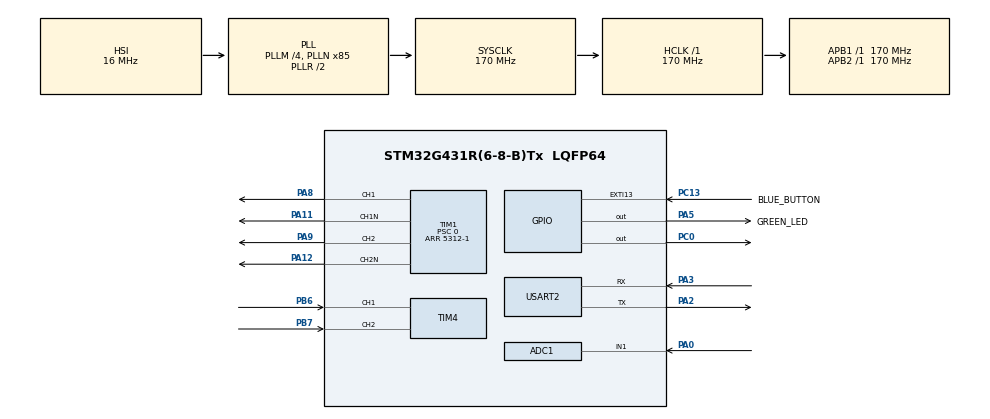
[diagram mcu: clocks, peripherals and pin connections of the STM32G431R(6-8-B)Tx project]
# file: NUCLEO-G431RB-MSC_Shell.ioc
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ADC1.Channel-0\#ChannelRegularConversion=ADC_CHANNEL_1
ADC1.DMAContinuousRequests=ENABLE
ADC1.ExternalTrigConv=ADC_EXTERNALTRIG_T2_TRGO
ADC1.NbrOfConversionFlag=1
ADC1.OffsetNumber-0\#ChannelRegularConversion=ADC_OFFSET_NONE
ADC1.Rank-0\#ChannelRegularConversion=1
ADC1.SamplingTime-0\#ChannelRegularConversion=ADC_SAMPLETIME_2CYCLES_5
ADC1.master=1
Dma.ADC1.0.Direction=DMA_PERIPH_TO_MEMORY
Dma.ADC1.0.EventEnable=DISABLE
Dma.ADC1.0.Instance=DMA1_Channel1
Dma.ADC1.0.MemDataAlignment=DMA_MDATAALIGN_HALFWORD
Dma.ADC1.0.MemInc=DMA_MINC_ENABLE
Dma.ADC1.0.Mode=DMA_CIRCULAR
Dma.ADC1.0.PeriphDataAlignment=DMA_PDATAALIGN_HALFWORD
Dma.ADC1.0.PeriphInc=DMA_PINC_DISABLE
Dma.ADC1.0.Polarity=HAL_DMAMUX_REQ_GEN_RISING
Dma.ADC1.0.Priority=DMA_PRIORITY_LOW
Dma.ADC1.0.RequestNumber=1
Dma.ADC1.0.SignalID=NONE
Dma.ADC1.0.SyncEnable=DISABLE
Dma.ADC1.0.SyncPolarity=HAL_DMAMUX_SYNC_NO_EVENT
Dma.ADC1.0.SyncRequestNumber=1
Dma.ADC1.0.SyncSignalID=NONE
Dma.Request0=ADC1
Mcu.Family=STM32G4
Mcu.Name=STM32G431R(6-8-B)Tx
Mcu.Package=LQFP64
NVIC.ADC1_2_IRQn=true\:0\:0\:false\:false\:true\:true\:true\:true
NVIC.DMA1_Channel1_IRQn=true\:0\:0\:false\:false\:true\:false\:true\:true
NVIC.PriorityGroup=NVIC_PRIORITYGROUP_4
NVIC.TIM3_IRQn=true\:0\:0\:false\:false\:true\:true\:true\:true
NVIC.TIM4_IRQn=true\:0\:0\:false\:false\:true\:true\:true\:true
NVIC.TIM6_DAC_IRQn=true\:15\:0\:false\:false\:true\:false\:true\:true
NVIC.TimeBase=TIM6_DAC_IRQn
NVIC.TimeBaseIP=TIM6
NVIC.USART2_IRQn=true\:0\:0\:false\:false\:true\:true\:true\:true
PA0.Mode=IN1-Single-Ended
PA0.Signal=ADC1_IN1
PA11.Mode=PWM Generation1 CH1 CH1N
PA11.Signal=TIM1_CH1N
PA12.Mode=PWM Generation2 CH2 CH2N
PA12.Signal=TIM1_CH2N
PA13.GPIO_Label=T_SWDIO
PA13.Mode=Serial_Wire
PA13.Signal=SYS_JTMS-SWDIO
PA14.GPIO_Label=T_SWCLK
PA14.Mode=Serial_Wire
PA14.Signal=SYS_JTCK-SWCLK
PA2.Mode=Asynchronous
PA2.Signal=USART2_TX
PA3.Mode=Asynchronous
PA3.Signal=USART2_RX
PA5.GPIO_Label=GREEN_LED
PA5.Signal=GPIO_Output
PA8.Signal=S_TIM1_CH1
PA9.Signal=S_TIM1_CH2
PB6.Signal=S_TIM4_CH1
PB7.Signal=S_TIM4_CH2
PC0.Signal=GPIO_Output
PC13.GPIO_Label=BLUE_BUTTON
PC13.Signal=GPXTI13
PC14-OSC32_IN.Mode=LSE-External-Oscillator
PC14-OSC32_IN.Signal=RCC_OSC32_IN
PC15-OSC32_OUT.Mode=LSE-External-Oscillator
PC15-OSC32_OUT.Signal=RCC_OSC32_OUT
PF0-OSC_IN.Mode=HSE-External-Oscillator
PF0-OSC_IN.Signal=RCC_OSC_IN
PF1-OSC_OUT.Mode=HSE-External-Oscillator
PF1-OSC_OUT.Signal=RCC_OSC_OUT
ProjectManager.HeapSize=0x200
ProjectManager.StackSize=0x400
ProjectManager.TargetToolchain=STM32CubeIDE
RCC.ADC12Freq_Value=170000000
RCC.AHBFreq_Value=170000000
RCC.APB1Freq_Value=170000000
RCC.APB1TimFreq_Value=170000000
RCC.APB2Freq_Value=170000000
RCC.APB2TimFreq_Value=170000000
RCC.CortexFreq_Value=170000000
RCC.EXTERNAL_CLOCK_VALUE=12288000
RCC.HCLKFreq_Value=170000000
RCC.HSE_VALUE=24000000
RCC.HSI48_VALUE=48000000
RCC.HSI_VALUE=16000000
RCC.PLLM=RCC_PLLM_DIV4
RCC.PLLN=85
RCC.RTCClockSelection=RCC_RTCCLKSOURCE_LSE
RCC.SYSCLKFreq_VALUE=170000000
RCC.SYSCLKSource=RCC_SYSCLKSOURCE_PLLCLK
RCC.USBFreq_Value=170000000
RCC.VCOOutputFreq_Value=340000000
SH.S_TIM1_CH1.0=TIM1_CH1,PWM Generation1 CH1 CH1N
SH.S_TIM1_CH2.0=TIM1_CH2,PWM Generation2 CH2 CH2N
SH.S_TIM4_CH1.0=TIM4_CH1,Encoder_Interface
SH.S_TIM4_CH2.0=TIM4_CH2,Encoder_Interface
TIM1.Channel-PWM\ Generation1\ CH1\ CH1N=TIM_CHANNEL_1
TIM1.Channel-PWM\ Generation2\ CH2\ CH2N=TIM_CHANNEL_2
TIM1.CounterMode=TIM_COUNTERMODE_CENTERALIGNED1
TIM1.DeadTime=207
TIM1.PeriodNoDither=5312-1
TIM1.Prescaler=0
TIM1.PulseNoDither_1=2656
TIM1.PulseNoDither_2=2656
TIM2.PeriodNoDither=531
TIM2.TIM_MasterOutputTrigger=TIM_TRGO_UPDATE
TIM2.TIM_MasterSlaveMode=TIM_MASTERSLAVEMODE_DISABLE
TIM3.PeriodNoDither=9999
TIM3.Prescaler=1699
TIM4.EncoderMode=TIM_ENCODERMODE_TI12
TIM4.IC1Polarity=TIM_ICPOLARITY_RISING
TIM4.IC2Polarity=TIM_ICPOLARITY_RISING
TIM4.TIM_MasterOutputTrigger=TIM_TRGO_ENABLE
USART2.VirtualMode-Asynchronous=VM_ASYNC
VP_SYS_VS_tim6.Mode=TIM6
VP_TIM2_VS_ClockSourceINT.Mode=Internal
VP_TIM3_VS_ClockSourceINT.Mode=Internal
board=NUCLEO-G431RB

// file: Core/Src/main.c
/* USER CODE BEGIN Header */
/**
 ******************************************************************************
 * @file           : main.c
 * @brief          : Main program body
 ******************************************************************************
 * @attention
 *
 * Copyright (c) 2022 STMicroelectronics.
 * All rights reserved.
 *
 * This software is licensed under terms that can be found in the LICENSE file
 * in the root directory of this software component.
 * If no LICENSE file comes with this software, it is provided AS-IS.
 *
 ******************************************************************************
 */
/* USER CODE END Header */
#include "main.h"

/* USER CODE BEGIN Includes */
#include "string.h"
#include "stdio.h"
#include "stdlib.h"
#include "encodeur.h"
#include "ADC.h"
#include "asservissement.h"
/* USER CODE END Includes */

/* USER CODE BEGIN PD */
#define UART_TX_BUFFER_SIZE 64
#define UART_RX_BUFFER_SIZE 1
#define CMD_BUFFER_SIZE 64
#define MAX_ARGS 9
// LF = line feed, saut de ligne
#define ASCII_LF 0x0A
// CR = carriage return, retour chariot
#define ASCII_CR 0x0D
// DEL = delete
#define ASCII_DEL 0x7F

#define ADC_BUF_SIZE 20

/* USER CODE END PD */

ADC_HandleTypeDef hadc1;
DMA_HandleTypeDef hdma_adc1;

TIM_HandleTypeDef htim1;
TIM_HandleTypeDef htim2;
TIM_HandleTypeDef htim3;
TIM_HandleTypeDef htim4;

UART_HandleTypeDef huart2;

/* USER CODE BEGIN PV */
uint8_t prompt[]="user@Nucleo-STM32G431>>";
uint8_t started[]=
		"\r\n*-----------------------------*"
		"\r\n| Welcome on Nucleo-STM32G431 |"
		"\r\n*-----------------------------*"
		"\r\n";
uint8_t newline[]="\r\n";
uint8_t cmdNotFound[]="Command not found\r\n";
uint8_t help[]= " set PA5\r\n get\r\n start\r\n stop\r\n pinout\r\n alpha\r\n ADC\r\n";
uint8_t pinout[]=" PA2:UART TX\r\n PA3:UART RX\r\n PA5:LED\r\n PA8:TIM1_CH1\r\n"
		" PA9:TIM1_CH2\r\n PA11:TIM1_CH1N\r\n PA12:TIM1_CH2N\r\n";
uint8_t powerOn[]="Power ON\r\n";
uint8_t powerOff[]="Power OFF\r\n";
uint32_t uartRxReceived;
uint8_t uartRxBuffer[UART_RX_BUFFER_SIZE];
uint8_t uartTxBuffer[UART_TX_BUFFER_SIZE];
uint8_t stringSize;

uint16_t ADC_Buffer[ADC_BUF_SIZE];

uint32_t counter = 0;

extern float vitesse[1];

int start_current_ctrl_flag = 0;
int ADC_flag = 0;

/* USER CODE END PV */

void SystemClock_Config(void);
static void MX_GPIO_Init(void);
static void MX_DMA_Init(void);
static void MX_USART2_UART_Init(void);
static void MX_TIM1_Init(void);
static void MX_ADC1_Init(void);
static void MX_TIM2_Init(void);
static void MX_TIM4_Init(void);
static void MX_TIM3_Init(void);

/* USER CODE BEGIN 0 */

/**
 * @brief Fonction qui permet de mettre en route les signaux PWM
 * @param  None
 * @retval None
 */
void start_PWM(){
	HAL_TIM_PWM_Start(&htim1, TIM_CHANNEL_1);
	HAL_TIM_PWM_Start(&htim1, TIM_CHANNEL_2);
	HAL_TIMEx_PWMN_Start(&htim1, TIM_CHANNEL_1);
	HAL_TIMEx_PWMN_Start(&htim1, TIM_CHANNEL_2);
}

/**
 * @brief Fonction qui permet de stopper les signaux PWM
 * @param  None
 * @retval None
 */
void stop_PWM(){
	HAL_TIM_PWM_Stop(&htim1, TIM_CHANNEL_1);
	HAL_TIM_PWM_Stop(&htim1, TIM_CHANNEL_2);
	HAL_TIMEx_PWMN_Stop(&htim1, TIM_CHANNEL_1);
	HAL_TIMEx_PWMN_Stop(&htim1, TIM_CHANNEL_2);
}

/**
 * @brief Fonction qui permet de changer la valeur du rapport cyclique des signaux PWM
 * @param  int alpha : rapport cyclique entre 0 et 100
 * @retval None
 */
void changement_alpha(int alpha){
	if (alpha > 100){
		alpha = 100;
	}
	TIM1->CCR1=(5312*alpha)/100;
	TIM1->CCR2=(5312-TIM1->CCR1);
}

/**
 * @brief Fonction qui permet de lancer le hacheur
 * @param  None
 * @retval None
 */
void GPIO_ISO_RESET(){
	HAL_GPIO_WritePin(GPIOC, GPIO_PIN_0, GPIO_PIN_SET);
	HAL_Delay(1);
	HAL_GPIO_WritePin(GPIOC, GPIO_PIN_0, GPIO_PIN_RESET);
}

/* USER CODE END 0 */

int main(void)
{
	/* USER CODE BEGIN 1 */
	char	 	cmdBuffer[CMD_BUFFER_SIZE];
	int 		idx_cmd;
	char* 		argv[MAX_ARGS];
	int		 	argc = 0;
	char*		token;
	float 		courant = 0;
	float 		epsilon_courant_n_1 = 0; //erreur courant de l'acquisition précédente n-1
	float 		alpha2_n_1 = 0.5; //alpha 2 de l'acquisition précédente n-1
	int 		courant_mA = 0;

	/* USER CODE END 1 */

	/* MCU Configuration--------------------------------------------------------*/

	/* Reset of all peripherals, Initializes the Flash interface and the Systick. */
	HAL_Init();

	/* Configure the system clock */
	SystemClock_Config();

	/* Initialize all configured peripherals */
	MX_GPIO_Init();
	MX_DMA_Init();
	MX_USART2_UART_Init();
	MX_TIM1_Init();
	MX_ADC1_Init();
	MX_TIM2_Init();
	MX_TIM4_Init();
	MX_TIM3_Init();
	/* USER CODE BEGIN 2 */

	// POUR LE SHELL
	memset(argv,NULL,MAX_ARGS*sizeof(char*));
	memset(cmdBuffer,NULL,CMD_BUFFER_SIZE*sizeof(char));
	memset(uartRxBuffer,NULL,UART_RX_BUFFER_SIZE*sizeof(char));
	memset(uartTxBuffer,NULL,UART_TX_BUFFER_SIZE*sizeof(char));

	HAL_UART_Receive_IT(&huart2, uartRxBuffer, UART_RX_BUFFER_SIZE);
	HAL_Delay(10);
	HAL_UART_Transmit(&huart2, started, sizeof(started), HAL_MAX_DELAY);
	HAL_UART_Transmit(&huart2, prompt, sizeof(prompt), HAL_MAX_DELAY);
	// FIN POUR LE SHELL

	// init PWM

	start_PWM();

	// initialisation de l'ADC pour la mesure du courant sur la phase RED

	if(HAL_OK != HAL_ADCEx_Calibration_Start(&hadc1, ADC_SINGLE_ENDED))
		printf("probleme avec la calibration de l'ADC \r\n");

	if(HAL_OK != HAL_ADC_Start_DMA(&hadc1, (uint32_t *)ADC_Buffer, ADC_BUF_SIZE))
		printf("probleme avec le demarrage du DMA \r\n");

	if(HAL_OK != HAL_TIM_Base_Start(&htim2))
		printf("probleme avec l'initialisation du Timer 2 \r\n");

	// initialisation du Timer 4 pour la mesure de vitesse avec le codeur incremental

	if(HAL_OK != HAL_TIM_Encoder_Start(&htim4, TIM_CHANNEL_ALL))
		printf("probleme avec l'initialisation du Timer 4 \r\n");

	if(HAL_OK != HAL_TIM_Base_Start_IT(&htim3))
		printf("probleme avec l'initialisation du Timer 3 \r\n");

	/* USER CODE END 2 */

	/* Infinite loop */
	/* USER CODE BEGIN WHILE */
	while (1)
	{

		/******************** BEGIN SHELL **************************/

		// uartRxReceived is set to 1 when a new character is received on uart 1
		if(uartRxReceived){

			switch(uartRxBuffer[0]){
			// Nouvelle ligne, instruction à traiter
			case ASCII_CR:
				HAL_UART_Transmit(&huart2, newline, sizeof(newline), HAL_MAX_DELAY);
				cmdBuffer[idx_cmd] = '\0';
				argc = 0;
				token = strtok(cmdBuffer, " ");
				while(token!=NULL){
					argv[argc++] = token;
					token = strtok(NULL, " ");
				}
				idx_cmd = 0;
				newCmdReady = 1;
				break;
				// Suppression du dernier caractère
			case ASCII_DEL:
				cmdBuffer[idx_cmd--] = '\0';
				HAL_UART_Transmit(&huart2, uartRxBuffer, UART_RX_BUFFER_SIZE, HAL_MAX_DELAY);
				break;
				// Nouveau caractère
			default:
				cmdBuffer[idx_cmd++] = uartRxBuffer[0];
				HAL_UART_Transmit(&huart2, uartRxBuffer, UART_RX_BUFFER_SIZE, HAL_MAX_DELAY);
			}
			uartRxReceived = 0;
		}

		if(newCmdReady){
			if(strcmp(argv[0],"set")==0){
				if(strcmp(argv[1],"PA5")==0){
					HAL_GPIO_WritePin(GREEN_LED_GPIO_Port, GREEN_LED_Pin, atoi(argv[2]));
					stringSize = snprintf(uartTxBuffer, UART_TX_BUFFER_SIZE,"Switch on/off led : %d\r\n",atoi(argv[2]));
					HAL_UART_Transmit(&huart2, uartTxBuffer, stringSize, HAL_MAX_DELAY);
				}
				else{
					HAL_UART_Transmit(&huart2, cmdNotFound, sizeof(cmdNotFound), HAL_MAX_DELAY);
				}
			}
			else if(strcmp(argv[0],"get")==0)
			{
				HAL_UART_Transmit(&huart2, cmdNotFound, sizeof(cmdNotFound), HAL_MAX_DELAY);
			}

			else if (strcmp(argv[0],"help")==0){
				HAL_UART_Transmit(&huart2, help, sizeof(help), HAL_MAX_DELAY);

			}
			else if (strcmp(argv[0],"pinout")==0){
				HAL_UART_Transmit(&huart2, pinout, sizeof(pinout), HAL_MAX_DELAY);
			}

			else if (strcmp(argv[0],"start")==0){

				start_PWM();

				// on met le rapport cyclique à 50 à chaque lancement (le moteur ne tourne pas)
				TIM1->CCR1=2656;
				TIM1->CCR2=2656;

				// Activation du GPIO pour l'allumage du hacheur (pin 33)
				// GPIOC Pin 0 à 1 pendant au moins 2micro s d'après la doc

				GPIO_ISO_RESET();

				HAL_UART_Transmit(&huart2, powerOn, sizeof(powerOn), HAL_MAX_DELAY);
			}
			else if (strcmp(argv[0],"stop")==0){

				// On stoppe les PWM
				stop_PWM();

				HAL_UART_Transmit(&huart2, powerOff, sizeof(powerOff), HAL_MAX_DELAY);
			}

			else if(strcmp(argv[0],"alpha")==0){
				alpha = atoi(argv[1]);
				changement_alpha(alpha);
			}
			else if(strcmp(argv[0],"ADC")==0){

				courant = lecture_courant(ADC_Buffer);

				stringSize = snprintf(uartTxBuffer, UART_TX_BUFFER_SIZE,"Le courant dans la phase RED vaut : %.2f A \r\n", courant);
				HAL_UART_Transmit(&huart2, uartTxBuffer, stringSize, HAL_MAX_DELAY);

			}
			else if(strcmp(argv[0],"vitesse")==0){

				// la fonction vitesse_de_rotation est appelée périodiquement à chaque interruption du timer3 (dans la fonction ...it.c)

				stringSize = snprintf(uartTxBuffer, UART_TX_BUFFER_SIZE,"La vitesse vaut : %.1f tr/min \r\n", vitesse[0]);
				HAL_UART_Transmit(&huart2, uartTxBuffer, stringSize, HAL_MAX_DELAY);
			}
			else if (strcmp(argv[0],"commande")==0){

				if (strcmp(argv[1],"courant")==0){

					courant_mA =atoi(argv[2]);

					stringSize = snprintf(uartTxBuffer, UART_TX_BUFFER_SIZE,"courant commande %d \r\n ", courant_mA);
					HAL_UART_Transmit(&huart2, uartTxBuffer, stringSize, HAL_MAX_DELAY);

					start_current_ctrl_flag = 1;
				}

			}

			else if(strcmp(argv[0],"arret_commande")==0){

				start_current_ctrl_flag = 0;

			}

			else{
				HAL_UART_Transmit(&huart2, cmdNotFound, sizeof(cmdNotFound), HAL_MAX_DELAY);
			}
			HAL_UART_Transmit(&huart2, prompt, sizeof(prompt), HAL_MAX_DELAY);
			newCmdReady = 0;
		}

		/*********************** END SHELL *****************************/

		/****************** BEGIN BLUE_BUTTON HACHEUR ******************/

		HAL_GPIO_EXTI_IRQHandler(BLUE_BUTTON_Pin);

		/****************** END  BLUE_BUTTON HACHEUR ******************/

		/*********************** BEGIN ASSERV **************************/

		//asserv courant

		if (start_current_ctrl_flag){
			//if (ADC_flag){
				float alpha_commande_courant = commande_courant(courant_mA, lecture_courant(ADC_Buffer), epsilon_courant_n_1, alpha2_n_1);
				changement_alpha((int)(alpha_commande_courant)*100);
				ADC_flag = 0;
			//}
		}

		/*********************** END ASSERV ****************************/

		/* USER CODE END WHILE */

	}
}

void SystemClock_Config(void)
{
	RCC_OscInitTypeDef RCC_OscInitStruct = {0};
	RCC_ClkInitTypeDef RCC_ClkInitStruct = {0};

	/** Configure the main internal regulator output voltage
	 */
	HAL_PWREx_ControlVoltageScaling(PWR_REGULATOR_VOLTAGE_SCALE1_BOOST);

	/** Initializes the RCC Oscillators according to the specified parameters
	 * in the RCC_OscInitTypeDef structure.
	 */
	RCC_OscInitStruct.OscillatorType = RCC_OSCILLATORTYPE_HSI;
	RCC_OscInitStruct.HSIState = RCC_HSI_ON;
	RCC_OscInitStruct.HSICalibrationValue = RCC_HSICALIBRATION_DEFAULT;
	RCC_OscInitStruct.PLL.PLLState = RCC_PLL_ON;
	RCC_OscInitStruct.PLL.PLLSource = RCC_PLLSOURCE_HSI;
	RCC_OscInitStruct.PLL.PLLM = RCC_PLLM_DIV4;
	RCC_OscInitStruct.PLL.PLLN = 85;
	RCC_OscInitStruct.PLL.PLLP = RCC_PLLP_DIV2;
	RCC_OscInitStruct.PLL.PLLQ = RCC_PLLQ_DIV2;
	RCC_OscInitStruct.PLL.PLLR = RCC_PLLR_DIV2;
	if (HAL_RCC_OscConfig(&RCC_OscInitStruct) != HAL_OK)
	{
		Error_Handler();
	}

	/** Initializes the CPU, AHB and APB buses clocks
	 */
	RCC_ClkInitStruct.ClockType = RCC_CLOCKTYPE_HCLK|RCC_CLOCKTYPE_SYSCLK
			|RCC_CLOCKTYPE_PCLK1|RCC_CLOCKTYPE_PCLK2;
	RCC_ClkInitStruct.SYSCLKSource = RCC_SYSCLKSOURCE_PLLCLK;
	RCC_ClkInitStruct.AHBCLKDivider = RCC_SYSCLK_DIV1;
	RCC_ClkInitStruct.APB1CLKDivider = RCC_HCLK_DIV1;
	RCC_ClkInitStruct.APB2CLKDivider = RCC_HCLK_DIV1;

	if (HAL_RCC_ClockConfig(&RCC_ClkInitStruct, FLASH_LATENCY_4) != HAL_OK)
	{
		Error_Handler();
	}
}

static void MX_ADC1_Init(void)
{

	ADC_MultiModeTypeDef multimode = {0};
	ADC_ChannelConfTypeDef sConfig = {0};

	/** Common config
	 */
	hadc1.Instance = ADC1;
	hadc1.Init.ClockPrescaler = ADC_CLOCK_SYNC_PCLK_DIV4;
	hadc1.Init.Resolution = ADC_RESOLUTION_12B;
	hadc1.Init.DataAlign = ADC_DATAALIGN_RIGHT;
	hadc1.Init.GainCompensation = 0;
	hadc1.Init.ScanConvMode = ADC_SCAN_DISABLE;
	hadc1.Init.EOCSelection = ADC_EOC_SINGLE_CONV;
	hadc1.Init.LowPowerAutoWait = DISABLE;
	hadc1.Init.ContinuousConvMode = DISABLE;
	hadc1.Init.NbrOfConversion = 1;
	hadc1.Init.DiscontinuousConvMode = DISABLE;
	hadc1.Init.ExternalTrigConv = ADC_EXTERNALTRIG_T2_TRGO;
	hadc1.Init.ExternalTrigConvEdge = ADC_EXTERNALTRIGCONVEDGE_RISING;
	hadc1.Init.DMAContinuousRequests = ENABLE;
	hadc1.Init.Overrun = ADC_OVR_DATA_PRESERVED;
	hadc1.Init.OversamplingMode = DISABLE;
	if (HAL_ADC_Init(&hadc1) != HAL_OK)
	{
		Error_Handler();
	}

	/** Configure the ADC multi-mode
	 */
	multimode.Mode = ADC_MODE_INDEPENDENT;
	if (HAL_ADCEx_MultiModeConfigChannel(&hadc1, &multimode) != HAL_OK)
	{
		Error_Handler();
	}

	/** Configure Regular Channel
	 */
	sConfig.Channel = ADC_CHANNEL_1;
	sConfig.Rank = ADC_REGULAR_RANK_1;
	sConfig.SamplingTime = ADC_SAMPLETIME_2CYCLES_5;
	sConfig.SingleDiff = ADC_SINGLE_ENDED;
	sConfig.OffsetNumber = ADC_OFFSET_NONE;
	sConfig.Offset = 0;
	if (HAL_ADC_ConfigChannel(&hadc1, &sConfig) != HAL_OK)
	{
		Error_Handler();
	}

}

static void MX_TIM1_Init(void)
{

	TIM_MasterConfigTypeDef sMasterConfig = {0};
	TIM_OC_InitTypeDef sConfigOC = {0};
	TIM_BreakDeadTimeConfigTypeDef sBreakDeadTimeConfig = {0};

	htim1.Instance = TIM1;
	htim1.Init.Prescaler = 0;
	htim1.Init.CounterMode = TIM_COUNTERMODE_CENTERALIGNED1;
	htim1.Init.Period = 5311;
	htim1.Init.ClockDivision = TIM_CLOCKDIVISION_DIV1;
	htim1.Init.RepetitionCounter = 0;
	htim1.Init.AutoReloadPreload = TIM_AUTORELOAD_PRELOAD_DISABLE;
	if (HAL_TIM_PWM_Init(&htim1) != HAL_OK)
	{
		Error_Handler();
	}
	sMasterConfig.MasterOutputTrigger = TIM_TRGO_RESET;
	sMasterConfig.MasterOutputTrigger2 = TIM_TRGO2_RESET;
	sMasterConfig.MasterSlaveMode = TIM_MASTERSLAVEMODE_DISABLE;
	if (HAL_TIMEx_MasterConfigSynchronization(&htim1, &sMasterConfig) != HAL_OK)
	{
		Error_Handler();
	}
	sConfigOC.OCMode = TIM_OCMODE_PWM1;
	sConfigOC.Pulse = 2656;
	sConfigOC.OCPolarity = TIM_OCPOLARITY_HIGH;
	sConfigOC.OCNPolarity = TIM_OCNPOLARITY_HIGH;
	sConfigOC.OCFastMode = TIM_OCFAST_DISABLE;
	sConfigOC.OCIdleState = TIM_OCIDLESTATE_RESET;
	sConfigOC.OCNIdleState = TIM_OCNIDLESTATE_RESET;
	if (HAL_TIM_PWM_ConfigChannel(&htim1, &sConfigOC, TIM_CHANNEL_1) != HAL_OK)
	{
		Error_Handler();
	}
	if (HAL_TIM_PWM_ConfigChannel(&htim1, &sConfigOC, TIM_CHANNEL_2) != HAL_OK)
	{
		Error_Handler();
	}
	sBreakDeadTimeConfig.OffStateRunMode = TIM_OSSR_DISABLE;
	sBreakDeadTimeConfig.OffStateIDLEMode = TIM_OSSI_DISABLE;
	sBreakDeadTimeConfig.LockLevel = TIM_LOCKLEVEL_OFF;
	sBreakDeadTimeConfig.DeadTime = 207;
	sBreakDeadTimeConfig.BreakState = TIM_BREAK_DISABLE;
	sBreakDeadTimeConfig.BreakPolarity = TIM_BREAKPOLARITY_HIGH;
	sBreakDeadTimeConfig.BreakFilter = 0;
	sBreakDeadTimeConfig.BreakAFMode = TIM_BREAK_AFMODE_INPUT;
	sBreakDeadTimeConfig.Break2State = TIM_BREAK2_DISABLE;
	sBreakDeadTimeConfig.Break2Polarity = TIM_BREAK2POLARITY_HIGH;
	sBreakDeadTimeConfig.Break2Filter = 0;
	sBreakDeadTimeConfig.Break2AFMode = TIM_BREAK_AFMODE_INPUT;
	sBreakDeadTimeConfig.AutomaticOutput = TIM_AUTOMATICOUTPUT_DISABLE;
	if (HAL_TIMEx_ConfigBreakDeadTime(&htim1, &sBreakDeadTimeConfig) != HAL_OK)
	{
		Error_Handler();
	}
	HAL_TIM_MspPostInit(&htim1);

}

static void MX_TIM2_Init(void)
{

	TIM_ClockConfigTypeDef sClockSourceConfig = {0};
	TIM_MasterConfigTypeDef sMasterConfig = {0};

	htim2.Instance = TIM2;
	htim2.Init.Prescaler = 0;
	htim2.Init.CounterMode = TIM_COUNTERMODE_UP;
	htim2.Init.Period = 531;
	htim2.Init.ClockDivision = TIM_CLOCKDIVISION_DIV1;
	htim2.Init.AutoReloadPreload = TIM_AUTORELOAD_PRELOAD_DISABLE;
	if (HAL_TIM_Base_Init(&htim2) != HAL_OK)
	{
		Error_Handler();
	}
	sClockSourceConfig.ClockSource = TIM_CLOCKSOURCE_INTERNAL;
	if (HAL_TIM_ConfigClockSource(&htim2, &sClockSourceConfig) != HAL_OK)
	{
		Error_Handler();
	}
	sMasterConfig.MasterOutputTrigger = TIM_TRGO_UPDATE;
	sMasterConfig.MasterSlaveMode = TIM_MASTERSLAVEMODE_DISABLE;
	if (HAL_TIMEx_MasterConfigSynchronization(&htim2, &sMasterConfig) != HAL_OK)
	{
		Error_Handler();
	}

}

static void MX_TIM3_Init(void)
{

	TIM_ClockConfigTypeDef sClockSourceConfig = {0};
	TIM_MasterConfigTypeDef sMasterConfig = {0};

	htim3.Instance = TIM3;
	htim3.Init.Prescaler = 1699;
	htim3.Init.CounterMode = TIM_COUNTERMODE_UP;
	htim3.Init.Period = 9999;
	htim3.Init.ClockDivision = TIM_CLOCKDIVISION_DIV1;
	htim3.Init.AutoReloadPreload = TIM_AUTORELOAD_PRELOAD_DISABLE;
	if (HAL_TIM_Base_Init(&htim3) != HAL_OK)
	{
		Error_Handler();
	}
	sClockSourceConfig.ClockSource = TIM_CLOCKSOURCE_INTERNAL;
	if (HAL_TIM_ConfigClockSource(&htim3, &sClockSourceConfig) != HAL_OK)
	{
		Error_Handler();
	}
	sMasterConfig.MasterOutputTrigger = TIM_TRGO_RESET;
	sMasterConfig.MasterSlaveMode = TIM_MASTERSLAVEMODE_DISABLE;
	if (HAL_TIMEx_MasterConfigSynchronization(&htim3, &sMasterConfig) != HAL_OK)
	{
		Error_Handler();
	}

}

static void MX_TIM4_Init(void)
{

	TIM_Encoder_InitTypeDef sConfig = {0};
	TIM_MasterConfigTypeDef sMasterConfig = {0};

	htim4.Instance = TIM4;
	htim4.Init.Prescaler = 0;
	htim4.Init.CounterMode = TIM_COUNTERMODE_UP;
	htim4.Init.Period = 65535;
	htim4.Init.ClockDivision = TIM_CLOCKDIVISION_DIV1;
	htim4.Init.AutoReloadPreload = TIM_AUTORELOAD_PRELOAD_DISABLE;
	sConfig.EncoderMode = TIM_ENCODERMODE_TI12;
	sConfig.IC1Polarity = TIM_ICPOLARITY_RISING;
	sConfig.IC1Selection = TIM_ICSELECTION_DIRECTTI;
	sConfig.IC1Prescaler = TIM_ICPSC_DIV1;
	sConfig.IC1Filter = 0;
	sConfig.IC2Polarity = TIM_ICPOLARITY_RISING;
	sConfig.IC2Selection = TIM_ICSELECTION_DIRECTTI;
	sConfig.IC2Prescaler = TIM_ICPSC_DIV1;
	sConfig.IC2Filter = 0;
	if (HAL_TIM_Encoder_Init(&htim4, &sConfig) != HAL_OK)
	{
		Error_Handler();
	}
	sMasterConfig.MasterOutputTrigger = TIM_TRGO_ENABLE;
	sMasterConfig.MasterSlaveMode = TIM_MASTERSLAVEMODE_DISABLE;
	if (HAL_TIMEx_MasterConfigSynchronization(&htim4, &sMasterConfig) != HAL_OK)
	{
		Error_Handler();
	}

}

static void MX_USART2_UART_Init(void)
{

	huart2.Instance = USART2;
	huart2.Init.BaudRate = 115200;
	huart2.Init.WordLength = UART_WORDLENGTH_8B;
	huart2.Init.StopBits = UART_STOPBITS_1;
	huart2.Init.Parity = UART_PARITY_NONE;
	huart2.Init.Mode = UART_MODE_TX_RX;
	huart2.Init.HwFlowCtl = UART_HWCONTROL_NONE;
	huart2.Init.OverSampling = UART_OVERSAMPLING_16;
	huart2.Init.OneBitSampling = UART_ONE_BIT_SAMPLE_DISABLE;
	huart2.Init.ClockPrescaler = UART_PRESCALER_DIV1;
	huart2.AdvancedInit.AdvFeatureInit = UART_ADVFEATURE_NO_INIT;
	if (HAL_UART_Init(&huart2) != HAL_OK)
	{
		Error_Handler();
	}
	if (HAL_UARTEx_SetTxFifoThreshold(&huart2, UART_TXFIFO_THRESHOLD_1_8) != HAL_OK)
	{
		Error_Handler();
	}
	if (HAL_UARTEx_SetRxFifoThreshold(&huart2, UART_RXFIFO_THRESHOLD_1_8) != HAL_OK)
	{
		Error_Handler();
	}
	if (HAL_UARTEx_DisableFifoMode(&huart2) != HAL_OK)
	{
		Error_Handler();
	}

}

static void MX_DMA_Init(void)
{

	/* DMA controller clock enable */
	__HAL_RCC_DMAMUX1_CLK_ENABLE();
	__HAL_RCC_DMA1_CLK_ENABLE();

	/* DMA interrupt init */
	/* DMA1_Channel1_IRQn interrupt configuration */
	HAL_NVIC_SetPriority(DMA1_Channel1_IRQn, 0, 0);
	HAL_NVIC_EnableIRQ(DMA1_Channel1_IRQn);

}

static void MX_GPIO_Init(void)
{
	GPIO_InitTypeDef GPIO_InitStruct = {0};

	/* GPIO Ports Clock Enable */
	__HAL_RCC_GPIOC_CLK_ENABLE();
	__HAL_RCC_GPIOF_CLK_ENABLE();
	__HAL_RCC_GPIOA_CLK_ENABLE();
	__HAL_RCC_GPIOB_CLK_ENABLE();

	/*Configure GPIO pin Output Level */
	HAL_GPIO_WritePin(GPIOC, GPIO_PIN_0, GPIO_PIN_RESET);

	/*Configure GPIO pin Output Level */
	HAL_GPIO_WritePin(GREEN_LED_GPIO_Port, GREEN_LED_Pin, GPIO_PIN_RESET);

	/*Configure GPIO pin : BLUE_BUTTON_Pin */
	GPIO_InitStruct.Pin = BLUE_BUTTON_Pin;
	GPIO_InitStruct.Mode = GPIO_MODE_IT_RISING;
	GPIO_InitStruct.Pull = GPIO_NOPULL;
	HAL_GPIO_Init(BLUE_BUTTON_GPIO_Port, &GPIO_InitStruct);

	/*Configure GPIO pin : PC0 */
	GPIO_InitStruct.Pin = GPIO_PIN_0;
	GPIO_InitStruct.Mode = GPIO_MODE_OUTPUT_PP;
	GPIO_InitStruct.Pull = GPIO_NOPULL;
	GPIO_InitStruct.Speed = GPIO_SPEED_FREQ_LOW;
	HAL_GPIO_Init(GPIOC, &GPIO_InitStruct);

	/*Configure GPIO pin : GREEN_LED_Pin */
	GPIO_InitStruct.Pin = GREEN_LED_Pin;
	GPIO_InitStruct.Mode = GPIO_MODE_OUTPUT_PP;
	GPIO_InitStruct.Pull = GPIO_NOPULL;
	GPIO_InitStruct.Speed = GPIO_SPEED_FREQ_LOW;
	HAL_GPIO_Init(GREEN_LED_GPIO_Port, &GPIO_InitStruct);

}

/* USER CODE BEGIN 4 */

/**
 * @brief fonction de gestion de la communication (uart) entre le programme et l'utilisateur.
 * @note   La fonction est appelee lorsque le programme detecte une entree de l'utilisateur sur le shell
 * @param  huart : UART handle
 * @retval None
 */
void HAL_UART_RxCpltCallback (UART_HandleTypeDef * huart){
	uartRxReceived = 1;
	HAL_UART_Receive_IT(&huart2, uartRxBuffer, UART_RX_BUFFER_SIZE);
}

/**
 * @brief fonction callback du bouton bleu
 * @note  La fonction est appelee lorsque l'utilisateur appui sur le bouton bleu et provoque l'activation du GPIO pour l'allumage du hacheur (pin 33)
		   GPIOC Pin 0 à 1 pendant au moins 2micro s d'après la doc
 * @param  GPIO_Pin : Pin handler
 * @retval None
 */
void HAL_GPIO_EXTI_Callback(uint16_t GPIO_Pin)
{
	GPIO_ISO_RESET();
}

/* USER CODE END 4 */

void HAL_TIM_PeriodElapsedCallback(TIM_HandleTypeDef *htim)
{
	if (htim->Instance == TIM6) {
		HAL_IncTick();
	}
}

void Error_Handler(void)
{
	__disable_irq();
	while (1)
	{
	}
}
